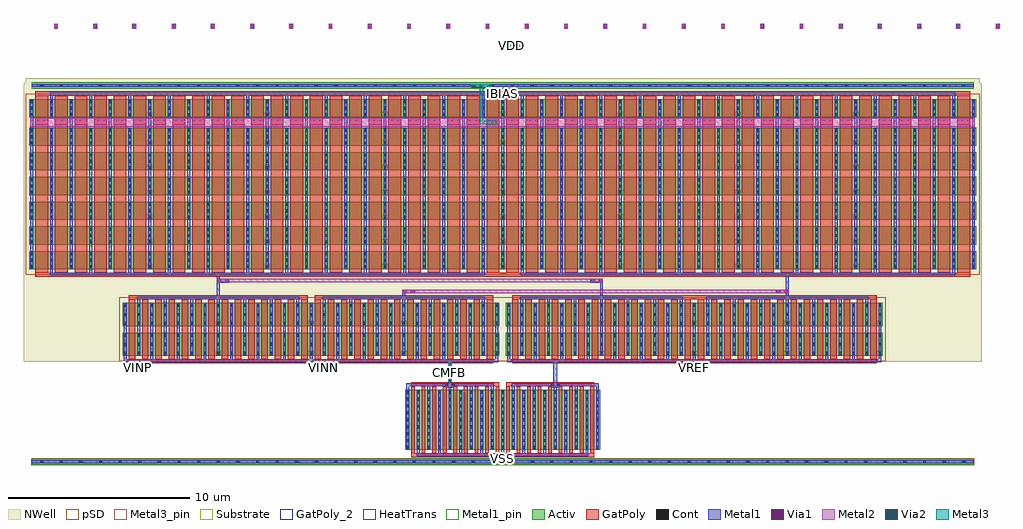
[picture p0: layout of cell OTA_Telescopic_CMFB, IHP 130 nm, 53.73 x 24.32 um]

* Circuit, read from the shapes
.subckt OTA_Telescopic_CMFB CMFB IBIAS VDD VINN VINP VREF VSS
XM1 VSS CMFB CMFB VSS sg13_lv_nmos w=3.33u l=0.2u m=9
XM2 n1 n1 VSS VSS sg13_lv_nmos w=3.33u l=0.2u m=9
XM3 n2 IBIAS n3 n4 sg13_lv_pmos w=1u l=0.7u m=6
XM4 IBIAS IBIAS n3 n4 sg13_lv_pmos w=1u l=0.7u
XM5 n5 IBIAS n2 n4 sg13_lv_pmos w=1u l=0.7u m=12
XM6 n5 IBIAS IBIAS n4 sg13_lv_pmos w=1u l=0.7u m=2
XM7 n6 IBIAS n2 n4 sg13_lv_pmos w=1u l=0.7u m=12
XM8 n6 IBIAS IBIAS n4 sg13_lv_pmos w=1u l=0.7u m=2
XM9 n2 VINP CMFB n4 sg13_lv_pmos w=1.285u l=0.35u m=28
XM10 n7 IBIAS n2 n4 sg13_lv_pmos w=1u l=0.7u m=12
XM11 n7 IBIAS IBIAS n4 sg13_lv_pmos w=1u l=0.7u m=2
XM12 n8 IBIAS n2 n4 sg13_lv_pmos w=1u l=0.7u m=12
XM13 n8 IBIAS IBIAS n4 sg13_lv_pmos w=1u l=0.7u m=2
XM14 n9 IBIAS n2 n4 sg13_lv_pmos w=1u l=0.7u m=12
XM15 n9 IBIAS IBIAS n4 sg13_lv_pmos w=1u l=0.7u m=2
XM16 n10 IBIAS n2 n4 sg13_lv_pmos w=1u l=0.7u m=12
XM17 n10 IBIAS IBIAS n4 sg13_lv_pmos w=1u l=0.7u m=2
XM18 n11 IBIAS n2 n4 sg13_lv_pmos w=1u l=0.7u m=12
XM19 n11 IBIAS IBIAS n4 sg13_lv_pmos w=1u l=0.7u m=2
XM20 n12 VINN CMFB n4 sg13_lv_pmos w=1.285u l=0.35u m=28
XM21 n13 IBIAS n2 n4 sg13_lv_pmos w=1u l=0.7u m=12
XM22 n13 IBIAS IBIAS n4 sg13_lv_pmos w=1u l=0.7u m=2
XM23 n14 IBIAS n2 n4 sg13_lv_pmos w=1u l=0.7u m=12
XM24 n14 IBIAS IBIAS n4 sg13_lv_pmos w=1u l=0.7u m=2
XM25 n15 IBIAS n2 n4 sg13_lv_pmos w=1u l=0.7u m=12
XM26 n15 IBIAS IBIAS n4 sg13_lv_pmos w=1u l=0.7u m=2
XM27 n16 IBIAS n2 n4 sg13_lv_pmos w=1u l=0.7u m=12
XM28 n16 IBIAS IBIAS n4 sg13_lv_pmos w=1u l=0.7u m=2
XM29 n17 IBIAS n2 n4 sg13_lv_pmos w=1u l=0.7u m=6
XM30 n17 IBIAS IBIAS n4 sg13_lv_pmos w=1u l=0.7u m=2
XM31 n12 IBIAS n17 n4 sg13_lv_pmos w=1u l=0.7u m=6
XM32 n2 VREF n1 n4 sg13_lv_pmos w=1.285u l=0.35u m=28
XM33 n18 IBIAS n12 n4 sg13_lv_pmos w=1u l=0.7u m=12
XM34 n18 IBIAS IBIAS n4 sg13_lv_pmos w=1u l=0.7u m=2
XM35 n19 IBIAS n12 n4 sg13_lv_pmos w=1u l=0.7u m=12
XM36 n19 IBIAS IBIAS n4 sg13_lv_pmos w=1u l=0.7u m=2
XM37 n20 IBIAS n12 n4 sg13_lv_pmos w=1u l=0.7u m=12
XM38 n20 IBIAS IBIAS n4 sg13_lv_pmos w=1u l=0.7u m=2
XM39 n21 IBIAS n12 n4 sg13_lv_pmos w=1u l=0.7u m=12
XM40 n21 IBIAS IBIAS n4 sg13_lv_pmos w=1u l=0.7u m=2
XM41 n22 IBIAS n12 n4 sg13_lv_pmos w=1u l=0.7u m=12
XM42 n22 IBIAS IBIAS n4 sg13_lv_pmos w=1u l=0.7u m=2
XM43 n12 VREF n1 n4 sg13_lv_pmos w=1.285u l=0.35u m=28
XM44 n23 IBIAS n12 n4 sg13_lv_pmos w=1u l=0.7u m=12
XM45 n23 IBIAS IBIAS n4 sg13_lv_pmos w=1u l=0.7u m=2
XM46 n24 IBIAS n12 n4 sg13_lv_pmos w=1u l=0.7u m=12
XM47 n24 IBIAS IBIAS n4 sg13_lv_pmos w=1u l=0.7u m=2
XM48 n25 IBIAS n12 n4 sg13_lv_pmos w=1u l=0.7u m=12
XM49 n25 IBIAS IBIAS n4 sg13_lv_pmos w=1u l=0.7u m=2
XM50 n26 IBIAS n12 n4 sg13_lv_pmos w=1u l=0.7u m=12
XM51 n26 IBIAS IBIAS n4 sg13_lv_pmos w=1u l=0.7u m=2
XM52 n27 IBIAS n12 n4 sg13_lv_pmos w=1u l=0.7u m=12
XM53 n27 IBIAS IBIAS n4 sg13_lv_pmos w=1u l=0.7u m=2
XM54 n28 IBIAS n12 n4 sg13_lv_pmos w=1u l=0.7u m=12
XM55 n28 IBIAS IBIAS n4 sg13_lv_pmos w=1u l=0.7u m=2
XM56 n29 IBIAS n12 n4 sg13_lv_pmos w=1u l=0.7u m=6
XM57 n29 IBIAS IBIAS n4 sg13_lv_pmos w=1u l=0.7u
.ends

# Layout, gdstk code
import gdstk
lib = gdstk.Library(unit=1e-6, precision=1e-09)
def R(c, l, rs):  # rectangles x0, y0, x1, y1
    for r in rs: c.add(gdstk.rectangle(r[:2], r[2:], *l))
def A(c, l, x, y, w, h, nx, ny, dx, dy):  # array of equal rectangles
    R(c, l, [(x+i*dx, y+j*dy, x+i*dx+w, y+j*dy+h) for i in range(nx) for j in range(ny)])
Activ = (1, 0)
GatPoly = (5, 0)
GatPoly_2 = (5, 2)
Cont = (6, 0)
Metal1 = (8, 0)
Metal1_pin = (8, 2)
Metal2 = (10, 0)
pSD = (14, 0)
Via1 = (19, 0)
Via2 = (29, 0)
Metal3 = (30, 0)
Metal3_pin = (30, 2)
NWell = (31, 0)
Substrate = (40, 0)
HeatTrans = (51, 0)

pmos_1 = lib.new_cell('pmos$1')
A(pmos_1, Activ, 0, 0, 0.3, 0.3, 8, 1, 0.73, 0)
R(pmos_1, Activ, [(0,0,5.41,1.285)])
A(pmos_1, GatPoly, 0.34, -0.18, 0.35, 1.645, 7, 1, 0.73, 0)
R(pmos_1, GatPoly, [(0.34,-0.18,0.69,1.465)])
A(pmos_1, Cont, 0.07, 0.07, 0.16, 0.16, 8, 2, 0.73, 0.49)
A(pmos_1, Cont, 0.07, 1.055, 0.16, 0.16, 8, 1, 0.73, 0)
A(pmos_1, Metal1, 0.8, 0, 0.16, 1.285, 7, 1, 0.73, 0)
R(pmos_1, Metal1, [(0.07,0,0.23,1.285), (0.07,0,0.23,1.285), (0.8,0,0.96,1.285)])
R(pmos_1, pSD, [(-0.18,-0.3,5.59,1.585)])
R(pmos_1, NWell, [(-0.31,-0.31,5.72,1.595)])
R(pmos_1, Substrate, [(5.11,0,5.41,0.3)])
A(pmos_1, HeatTrans, 0.34, -0.18, 0.35, 1.645, 7, 1, 0.73, 0)
pmos_1.add(gdstk.Label('pmos', (0.515,0.643), layer=63, texttype=0))
pmos_1.add(gdstk.Label('pmos', (0.515,0.643), layer=51, texttype=0))
pmos_1.add(gdstk.Label('pmos', (1.245,0.643), layer=51, texttype=0))
pmos_1.add(gdstk.Label('pmos', (1.975,0.643), layer=51, texttype=0))
pmos_1.add(gdstk.Label('pmos', (2.705,0.643), layer=51, texttype=0))
pmos_1.add(gdstk.Label('pmos', (3.435,0.643), layer=51, texttype=0))
pmos_1.add(gdstk.Label('pmos', (4.165,0.643), layer=51, texttype=0))
pmos_1.add(gdstk.Label('pmos', (4.895,0.643), layer=51, texttype=0))

nmos = lib.new_cell('nmos')
A(nmos, Activ, 0, 0, 0.3, 0.3, 10, 1, 0.58, 0)
R(nmos, Activ, [(0,0,5.52,3.33)])
A(nmos, GatPoly, 0.34, -0.18, 0.2, 3.69, 9, 1, 0.58, 0)
R(nmos, GatPoly_2, [(0.34,-0.18,0.54,3.51)])
A(nmos, Cont, 0.07, 0.07, 0.16, 0.16, 10, 2, 0.58, 0.375)
A(nmos, Cont, 0.07, 0.825, 0.16, 0.16, 10, 3, 0.58, 0.38)
A(nmos, Cont, 0.07, 1.96, 0.16, 0.16, 10, 4, 0.58, 0.38)
A(nmos, Metal1, 0.07, 0, 0.16, 3.33, 10, 1, 0.58, 0)
R(nmos, Metal1_pin, [(0.07,0,0.23,3.33), (0.65,0,0.81,3.33)])
A(nmos, HeatTrans, 0.34, -0.18, 0.2, 3.69, 9, 1, 0.58, 0)
nmos.add(gdstk.Label('nmos', (0.44,1.665), layer=63, texttype=0))
nmos.add(gdstk.Label('nmos', (0.44,1.665), layer=51, texttype=0))
nmos.add(gdstk.Label('nmos', (1.02,1.665), layer=51, texttype=0))
nmos.add(gdstk.Label('nmos', (1.6,1.665), layer=51, texttype=0))
nmos.add(gdstk.Label('nmos', (2.18,1.665), layer=51, texttype=0))
nmos.add(gdstk.Label('nmos', (2.76,1.665), layer=51, texttype=0))
nmos.add(gdstk.Label('nmos', (3.34,1.665), layer=51, texttype=0))
nmos.add(gdstk.Label('nmos', (3.92,1.665), layer=51, texttype=0))
nmos.add(gdstk.Label('nmos', (4.5,1.665), layer=51, texttype=0))
nmos.add(gdstk.Label('nmos', (5.08,1.665), layer=51, texttype=0))

pmos = lib.new_cell('pmos')
A(pmos, Activ, 0, 0, 0.3, 0.3, 7, 1, 1.08, 0)
R(pmos, Activ, [(0,0,6.78,1)])
A(pmos, GatPoly, 0.34, -0.18, 0.7, 1.36, 6, 1, 1.08, 0)
R(pmos, GatPoly, [(0.34,-0.18,1.04,1.18)])
A(pmos, Cont, 0.07, 0.07, 0.16, 0.16, 7, 3, 1.08, 0.35)
A(pmos, Metal1, 1.15, 0, 0.16, 1, 6, 1, 1.08, 0)
R(pmos, Metal1, [(0.07,0,0.23,1), (0.07,0,0.23,1), (1.15,0,1.31,1)])
R(pmos, pSD, [(-0.18,-0.3,6.96,1.3)])
R(pmos, NWell, [(-0.31,-0.31,7.09,1.31)])
R(pmos, Substrate, [(6.48,0,6.78,0.3)])
A(pmos, HeatTrans, 0.34, -0.18, 0.7, 1.36, 6, 1, 1.08, 0)
pmos.add(gdstk.Label('pmos', (0.69,0.5), layer=63, texttype=0))
pmos.add(gdstk.Label('pmos', (0.69,0.5), layer=51, texttype=0))
pmos.add(gdstk.Label('pmos', (1.77,0.5), layer=51, texttype=0))
pmos.add(gdstk.Label('pmos', (2.85,0.5), layer=51, texttype=0))
pmos.add(gdstk.Label('pmos', (3.93,0.5), layer=51, texttype=0))
pmos.add(gdstk.Label('pmos', (5.01,0.5), layer=51, texttype=0))
pmos.add(gdstk.Label('pmos', (6.09,0.5), layer=51, texttype=0))

m1_bar2 = lib.new_cell('M1_Bar2')
R(m1_bar2, Metal1, [(-0.078,-4.355,0.082,4.805)])

m1_routings2 = lib.new_cell('M1_Routings2')
r = gdstk.Reference(m1_bar2, (-0.007,-0.05)); r.repetition = gdstk.Repetition(25, 1, v1=(2.16,0), v2=(0,0)); m1_routings2.add(r)

m1_bar3 = lib.new_cell('M1_Bar3')
R(m1_bar3, Metal1, [(-0.05,-0.1,0.11,0.08)])

m1_routings3 = lib.new_cell('M1_Routings3')
r = gdstk.Reference(m1_bar3, (0.025,-0.245)); r.repetition = gdstk.Repetition(24, 1, v1=(2.16,0), v2=(0,0)); m1_routings3.add(r)

m1_routings6 = lib.new_cell('M1_Routings6')
r = gdstk.Reference(m1_bar3, (-0.035,0.04)); r.repetition = gdstk.Repetition(5, 1, v1=(1.16,0), v2=(0,0)); m1_routings6.add(r)

poly_bar1 = lib.new_cell('Poly_Bar1')
R(poly_bar1, GatPoly, [(-0.368,-0.085,0.332,0.125)])

poly_routings1 = lib.new_cell('Poly_Routings1')
r = gdstk.Reference(poly_bar1, (0,0)); r.repetition = gdstk.Repetition(48, 1, v1=(1.08,0), v2=(0,0)); poly_routings1.add(r)

m1_bar1 = lib.new_cell('M1_Bar1')
R(m1_bar1, Metal1, [(-0.078,-3.765,0.082,4.215)])

m1_routings1 = lib.new_cell('M1_Routings1')
r = gdstk.Reference(m1_bar1, (0,-0.155)); r.repetition = gdstk.Repetition(12, 1, v1=(2.16,0), v2=(0,0)); m1_routings1.add(r)

m1_cont1_nmos = lib.new_cell('M1_Cont1_NMOS')
R(m1_cont1_nmos, Activ, [(-0.53,-0.175,0.55,0.165)])
R(m1_cont1_nmos, Cont, [(-0.07,-0.085,0.09,0.075)])
R(m1_cont1_nmos, Metal1, [(-0.53,-0.085,0.55,0.075)])
R(m1_cont1_nmos, Metal1_pin, [(-0.53,-0.085,0.55,0.075)])
R(m1_cont1_nmos, pSD, [(-0.56,-0.205,0.58,0.195)])

m1_bulkcont1_nmos = lib.new_cell('M1_BulkCont1_NMOS')
r = gdstk.Reference(m1_cont1_nmos, (0.005,0.01)); r.repetition = gdstk.Repetition(48, 1, v1=(1.08,0), v2=(0,0)); m1_bulkcont1_nmos.add(r)

m1_cont1_pmos = lib.new_cell('M1_Cont1_PMOS')
R(m1_cont1_pmos, Activ, [(-0.535,-0.175,0.545,0.165)])
R(m1_cont1_pmos, Cont, [(-0.075,-0.085,0.085,0.075)])
R(m1_cont1_pmos, Metal1, [(-0.535,-0.085,0.545,0.075)])
R(m1_cont1_pmos, Metal1_pin, [(-0.535,-0.085,0.545,0.075)])
R(m1_cont1_pmos, NWell, [(-0.875,-0.415,0.885,0.405)])

m1_bulkcont1_pmos = lib.new_cell('M1_BulkCont1_PMOS')
r = gdstk.Reference(m1_cont1_pmos, (-0.015,-0.015)); r.repetition = gdstk.Repetition(48, 1, v1=(1.08,0), v2=(0,0)); m1_bulkcont1_pmos.add(r)

m1_bar4 = lib.new_cell('M1_Bar4')
R(m1_bar4, Metal1, [(-0.073,-1.5,0.087,1.61)])

m1_routings5 = lib.new_cell('M1_Routings5')
r = gdstk.Reference(m1_bar4, (0,0.01)); r.repetition = gdstk.Repetition(7, 1, v1=(1.46,0), v2=(0,0)); m1_routings5.add(r)

m1_routings4 = lib.new_cell('M1_Routings4')
r = gdstk.Reference(m1_bar4, (0,0.02)); r.repetition = gdstk.Repetition(8, 1, v1=(1.46,0), v2=(0,0)); m1_routings4.add(r)

via_vdd_unit = lib.new_cell('via_vdd_unit')
R(via_vdd_unit, Metal1, [(-0.105,-0.14,0.105,0.15)])
R(via_vdd_unit, Metal2, [(-0.1,-0.14,0.1,0.15)])
R(via_vdd_unit, Via1, [(-0.095,-0.09,0.095,0.1)])

via_vdd = lib.new_cell('via_vdd')
r = gdstk.Reference(via_vdd_unit, (0,0)); r.repetition = gdstk.Repetition(25, 1, v1=(2.16,0), v2=(0,0)); via_vdd.add(r)

ota_telescopic_cmfb = lib.new_cell('OTA_Telescopic_CMFB')
R(ota_telescopic_cmfb, GatPoly, [(29.15,-0.41,33.99,-0.18), (34.37,-0.41,39.21,-0.18), (30.96,3.44,31.6,3.74), (36.76,3.44,37.4,3.74), (29.15,3.51,33.99,3.74), (34.37,3.51,39.21,3.74), (13.6,4.4,14.58,4.7), (23.82,4.4,24.8,4.7), (44.24,4.4,45.22,4.7), (13.6,4.7,14.58,4.765), (23.82,4.7,24.8,4.765), (44.24,4.7,45.22,4.765), (13.6,4.765,23.44,4.995), (23.82,4.765,33.66,4.995), (34.7,4.765,54.76,4.995), (13.6,8.285,23.44,8.515), (23.82,8.285,33.66,8.515), (34.7,8.285,54.76,8.515), (8.45,9.54,59.91,9.77), (33.69,19.455,34.67,19.755), (8.45,19.5,33.86,19.755), (34.5,19.5,59.91,19.755)])
A(ota_telescopic_cmfb, Cont, 13.67, 4.47, 0.16, 0.16, 3, 1, 0.34, 0)
A(ota_telescopic_cmfb, Cont, 23.89, 4.47, 0.16, 0.16, 3, 1, 0.34, 0)
A(ota_telescopic_cmfb, Cont, 44.31, 4.47, 0.16, 0.16, 3, 1, 0.34, 0)
A(ota_telescopic_cmfb, Cont, 33.76, 19.525, 0.16, 0.16, 3, 1, 0.34, 0)
R(ota_telescopic_cmfb, Cont, [(31.03,3.51,31.19,3.67), (31.37,3.51,31.53,3.67), (36.83,3.51,36.99,3.67), (37.17,3.51,37.33,3.67)])
R(ota_telescopic_cmfb, Metal1, [(33.625,-0.57,34.735,-0.55), (33.625,-0.55,34.735,-0.34), (29.46,-0.34,38.9,-0.18), (28.88,3.51,33.68,3.67), (30.98,3.51,31.58,3.67), (34.68,3.51,39.48,3.67), (36.78,3.51,37.38,3.67), (36.975,3.669,37.185,4.835), (31.175,3.67,31.385,4.836), (31.175,3.7,31.385,4.81), (13.535,4.445,14.645,4.655), (23.755,4.445,24.865,4.655), (44.175,4.445,45.285,4.655), (13.33,4.835,33.93,4.995), (34.43,4.835,55.03,4.995), (14.06,8.285,22.98,8.445), (24.28,8.285,33.2,8.445), (35.16,8.285,44.08,8.445), (45.38,8.285,54.3,8.445), (18.44,8.445,18.6,9.27), (28.66,8.445,28.82,8.625), (39.54,8.445,39.7,9.27), (49.76,8.445,49.92,8.625), (28.66,8.625,29.36,8.835), (49.22,8.625,49.92,8.835), (49.76,8.785,49.92,9.61), (18.44,9.22,19.14,9.43), (39,9.22,39.7,9.43), (18.44,9.43,18.6,9.61), (9.26,9.61,33.18,9.77), (35.18,9.61,59.1,9.77), (9.26,19.5,59.1,19.71), (33.625,19.5,34.735,19.71), (32.45,19.935,33.56,20.145), (34.13,22.19,35.24,22.4)])
R(ota_telescopic_cmfb, Metal2, [(33.625,-0.545,34.735,-0.345), (31.18,3.7,31.38,4.81), (13.535,4.45,14.645,4.65), (23.755,4.45,24.865,4.65), (44.175,4.45,45.285,4.65), (28.66,8.63,29.36,8.83), (28.84,8.63,49.74,8.83), (49.22,8.63,49.92,8.83), (18.44,9.225,19.14,9.425), (18.62,9.225,39.52,9.425), (39,9.225,39.7,9.425), (8.18,17.785,60.18,18.285), (33.625,19.505,34.735,19.705), (32.45,19.94,33.56,20.14), (34.13,22.195,35.24,22.395)])
A(ota_telescopic_cmfb, Via1, 33.675, -0.54, 0.19, 0.19, 3, 2, 0.41, 20.05)
A(ota_telescopic_cmfb, Via1, 31.185, 3.75, 0.19, 0.19, 1, 3, 0, 0.41)
A(ota_telescopic_cmfb, Via1, 13.585, 4.455, 0.19, 0.19, 3, 1, 0.41, 0)
A(ota_telescopic_cmfb, Via1, 23.805, 4.455, 0.19, 0.19, 3, 1, 0.41, 0)
A(ota_telescopic_cmfb, Via1, 44.225, 4.455, 0.19, 0.19, 3, 1, 0.41, 0)
A(ota_telescopic_cmfb, Via1, 32.5, 19.945, 0.19, 0.19, 3, 1, 0.41, 0)
A(ota_telescopic_cmfb, Via1, 34.18, 22.2, 0.19, 0.19, 3, 1, 0.41, 0)
R(ota_telescopic_cmfb, Via1, [(28.71,8.635,28.9,8.825), (29.12,8.635,29.31,8.825), (49.27,8.635,49.46,8.825), (49.68,8.635,49.87,8.825), (18.49,9.23,18.68,9.42), (18.9,9.23,19.09,9.42), (39.05,9.23,39.24,9.42), (39.46,9.23,39.65,9.42)])
A(ota_telescopic_cmfb, Via2, 33.675, -0.54, 0.19, 0.19, 3, 2, 0.41, 20.05)
A(ota_telescopic_cmfb, Via2, 31.185, 3.75, 0.19, 0.19, 1, 3, 0, 0.41)
A(ota_telescopic_cmfb, Via2, 13.585, 4.455, 0.19, 0.19, 3, 1, 0.41, 0)
A(ota_telescopic_cmfb, Via2, 23.805, 4.455, 0.19, 0.19, 3, 1, 0.41, 0)
A(ota_telescopic_cmfb, Via2, 44.225, 4.455, 0.19, 0.19, 3, 1, 0.41, 0)
A(ota_telescopic_cmfb, Via2, 32.5, 19.945, 0.19, 0.19, 3, 1, 0.41, 0)
A(ota_telescopic_cmfb, Via2, 34.18, 22.2, 0.19, 0.19, 3, 1, 0.41, 0)
R(ota_telescopic_cmfb, Metal3, [(33.625,-0.545,34.735,-0.345), (31.18,3.7,31.38,4.81), (13.535,4.45,14.645,4.65), (23.755,4.45,24.865,4.65), (44.175,4.45,45.285,4.65), (32.905,17.935,33.83,18.135), (32.905,17.935,33.105,19.94), (33.625,19.505,34.735,19.705), (32.45,19.94,33.56,20.14), (34.13,22.195,35.24,22.395)])
R(ota_telescopic_cmfb, Metal3_pin, [(33.625,-0.545,34.735,-0.345), (31.18,3.7,31.38,4.81), (13.535,4.45,14.645,4.65), (23.755,4.45,24.865,4.65), (44.175,4.45,45.285,4.65), (33.625,19.505,34.735,19.705), (34.13,22.195,35.24,22.395)])
R(ota_telescopic_cmfb, NWell, [(7.8,4.865,12.95,9.64), (55.41,4.865,60.56,9.64), (12.95,8.415,55.41,9.64), (7.8,19.63,60.56,20.19)])
ota_telescopic_cmfb.add(gdstk.Reference(pmos_1, (28.59,5.175)))
ota_telescopic_cmfb.add(gdstk.Reference(nmos, (28.81,0)))
ota_telescopic_cmfb.add(gdstk.Reference(nmos, (34.03,0)))
ota_telescopic_cmfb.add(gdstk.Reference(pmos_1, (34.36,6.82)))
ota_telescopic_cmfb.add(gdstk.Reference(pmos_1, (28.59,6.82)))
ota_telescopic_cmfb.add(gdstk.Reference(pmos_1, (34.36,5.175)))
ota_telescopic_cmfb.add(gdstk.Reference(pmos, (34.03,9.95)))
ota_telescopic_cmfb.add(gdstk.Reference(pmos, (34.03,12.67)))
ota_telescopic_cmfb.add(gdstk.Reference(pmos, (34.03,15.39)))
ota_telescopic_cmfb.add(gdstk.Reference(pmos, (34.03,11.31)))
ota_telescopic_cmfb.add(gdstk.Reference(pmos, (34.03,14.03)))
ota_telescopic_cmfb.add(gdstk.Reference(pmos, (34.03,16.75)))
ota_telescopic_cmfb.add(gdstk.Reference(pmos, (27.55,15.39)))
ota_telescopic_cmfb.add(gdstk.Reference(pmos, (27.55,9.95)))
ota_telescopic_cmfb.add(gdstk.Reference(pmos, (27.55,12.67)))
ota_telescopic_cmfb.add(gdstk.Reference(pmos, (27.55,16.75)))
ota_telescopic_cmfb.add(gdstk.Reference(pmos, (27.55,11.31)))
ota_telescopic_cmfb.add(gdstk.Reference(pmos, (27.55,14.03)))
ota_telescopic_cmfb.add(gdstk.Reference(m1_routings2, (8.265,14.355)))
ota_telescopic_cmfb.add(gdstk.Reference(pmos, (27.55,18.32)))
ota_telescopic_cmfb.add(gdstk.Reference(pmos, (34.03,18.32)))
ota_telescopic_cmfb.add(gdstk.Reference(m1_routings3, (9.285,19.665)))
ota_telescopic_cmfb.add(gdstk.Reference(m1_routings6, (29.545,-0.12)))
ota_telescopic_cmfb.add(gdstk.Reference(m1_routings6, (34.185,-0.12)))
ota_telescopic_cmfb.add(gdstk.Reference(poly_routings1, (8.818,18.015)))
ota_telescopic_cmfb.add(gdstk.Reference(pmos, (46.99,9.95)))
ota_telescopic_cmfb.add(gdstk.Reference(pmos, (53.47,9.95)))
ota_telescopic_cmfb.add(gdstk.Reference(pmos, (40.51,9.95)))
ota_telescopic_cmfb.add(gdstk.Reference(pmos, (14.59,9.95)))
ota_telescopic_cmfb.add(gdstk.Reference(pmos, (8.11,9.95)))
ota_telescopic_cmfb.add(gdstk.Reference(pmos, (21.07,9.95)))
ota_telescopic_cmfb.add(gdstk.Reference(m1_routings1, (35.258,13.69)))
ota_telescopic_cmfb.add(gdstk.Reference(m1_routings1, (9.338,13.69)))
ota_telescopic_cmfb.add(gdstk.Reference(m1_bulkcont1_nmos, (8.785,-0.655)))
ota_telescopic_cmfb.add(gdstk.Reference(m1_bulkcont1_pmos, (8.81,20.085)))
ota_telescopic_cmfb.add(gdstk.Reference(pmos, (46.99,18.32)))
ota_telescopic_cmfb.add(gdstk.Reference(pmos, (40.51,15.39)))
ota_telescopic_cmfb.add(gdstk.Reference(pmos, (46.99,15.39)))
ota_telescopic_cmfb.add(gdstk.Reference(pmos, (53.47,15.39)))
ota_telescopic_cmfb.add(gdstk.Reference(pmos, (40.51,12.67)))
ota_telescopic_cmfb.add(gdstk.Reference(pmos, (46.99,12.67)))
ota_telescopic_cmfb.add(gdstk.Reference(pmos, (53.47,12.67)))
ota_telescopic_cmfb.add(gdstk.Reference(pmos, (46.99,16.75)))
ota_telescopic_cmfb.add(gdstk.Reference(pmos, (53.47,16.75)))
ota_telescopic_cmfb.add(gdstk.Reference(pmos, (40.51,14.03)))
ota_telescopic_cmfb.add(gdstk.Reference(pmos, (46.99,14.03)))
ota_telescopic_cmfb.add(gdstk.Reference(pmos, (53.47,14.03)))
ota_telescopic_cmfb.add(gdstk.Reference(pmos, (40.51,11.31)))
ota_telescopic_cmfb.add(gdstk.Reference(pmos, (40.51,16.75)))
ota_telescopic_cmfb.add(gdstk.Reference(pmos, (46.99,11.31)))
ota_telescopic_cmfb.add(gdstk.Reference(pmos, (40.51,18.32)))
ota_telescopic_cmfb.add(gdstk.Reference(pmos, (53.47,11.31)))
ota_telescopic_cmfb.add(gdstk.Reference(pmos, (53.47,18.32)))
ota_telescopic_cmfb.add(gdstk.Reference(pmos, (14.59,18.32)))
ota_telescopic_cmfb.add(gdstk.Reference(pmos, (21.07,12.67)))
ota_telescopic_cmfb.add(gdstk.Reference(pmos, (14.59,12.67)))
ota_telescopic_cmfb.add(gdstk.Reference(pmos, (8.11,12.67)))
ota_telescopic_cmfb.add(gdstk.Reference(pmos, (8.11,15.39)))
ota_telescopic_cmfb.add(gdstk.Reference(pmos, (21.07,16.75)))
ota_telescopic_cmfb.add(gdstk.Reference(pmos, (14.59,16.75)))
ota_telescopic_cmfb.add(gdstk.Reference(pmos, (21.07,15.39)))
ota_telescopic_cmfb.add(gdstk.Reference(pmos, (21.07,11.31)))
ota_telescopic_cmfb.add(gdstk.Reference(pmos, (8.11,16.75)))
ota_telescopic_cmfb.add(gdstk.Reference(pmos, (14.59,11.31)))
ota_telescopic_cmfb.add(gdstk.Reference(pmos, (8.11,11.31)))
ota_telescopic_cmfb.add(gdstk.Reference(pmos, (21.07,14.03)))
ota_telescopic_cmfb.add(gdstk.Reference(pmos, (14.59,14.03)))
ota_telescopic_cmfb.add(gdstk.Reference(pmos, (8.11,14.03)))
ota_telescopic_cmfb.add(gdstk.Reference(pmos, (21.07,18.32)))
ota_telescopic_cmfb.add(gdstk.Reference(pmos, (14.59,15.39)))
ota_telescopic_cmfb.add(gdstk.Reference(pmos, (8.11,18.32)))
ota_telescopic_cmfb.add(gdstk.Reference(m1_routings5, (24.353,6.665)))
ota_telescopic_cmfb.add(gdstk.Reference(m1_routings4, (13.403,6.475)))
ota_telescopic_cmfb.add(gdstk.Reference(m1_routings5, (14.133,6.665)))
ota_telescopic_cmfb.add(gdstk.Reference(pmos_1, (23.48,5.175)))
ota_telescopic_cmfb.add(gdstk.Reference(m1_routings6, (28.965,3.39)))
ota_telescopic_cmfb.add(gdstk.Reference(pmos_1, (23.48,6.82)))
ota_telescopic_cmfb.add(gdstk.Reference(pmos_1, (13.26,5.175)))
ota_telescopic_cmfb.add(gdstk.Reference(pmos_1, (18.37,5.175)))
ota_telescopic_cmfb.add(gdstk.Reference(pmos_1, (13.26,6.82)))
ota_telescopic_cmfb.add(gdstk.Reference(pmos_1, (18.37,6.82)))
ota_telescopic_cmfb.add(gdstk.Reference(m1_routings4, (23.623,6.475)))
ota_telescopic_cmfb.add(gdstk.Reference(pmos_1, (39.47,5.175)))
ota_telescopic_cmfb.add(gdstk.Reference(pmos_1, (49.69,5.175)))
ota_telescopic_cmfb.add(gdstk.Reference(pmos_1, (44.58,5.175)))
ota_telescopic_cmfb.add(gdstk.Reference(m1_routings4, (44.723,6.475)))
ota_telescopic_cmfb.add(gdstk.Reference(m1_routings5, (45.453,6.665)))
ota_telescopic_cmfb.add(gdstk.Reference(m1_routings4, (34.503,6.475)))
ota_telescopic_cmfb.add(gdstk.Reference(m1_routings5, (35.233,6.665)))
ota_telescopic_cmfb.add(gdstk.Reference(m1_routings6, (34.765,3.39)))
ota_telescopic_cmfb.add(gdstk.Reference(pmos_1, (49.69,6.82)))
ota_telescopic_cmfb.add(gdstk.Reference(pmos_1, (44.58,6.82)))
ota_telescopic_cmfb.add(gdstk.Reference(pmos_1, (39.47,6.82)))
ota_telescopic_cmfb.add(gdstk.Reference(via_vdd, (9.585,23.325)))
ota_telescopic_cmfb.add(gdstk.Label('VDD', (34.689,22.294), layer=30, texttype=25))
ota_telescopic_cmfb.add(gdstk.Label('IBIAS', (34.174,19.609), layer=30, texttype=25))
ota_telescopic_cmfb.add(gdstk.Label('VREF', (44.733,4.543), layer=30, texttype=25))
ota_telescopic_cmfb.add(gdstk.Label('VINN', (24.305,4.54), layer=30, texttype=25))
ota_telescopic_cmfb.add(gdstk.Label('VINP', (14.089,4.549), layer=30, texttype=25))
ota_telescopic_cmfb.add(gdstk.Label('VSS', (34.175,-0.455), layer=30, texttype=25))
ota_telescopic_cmfb.add(gdstk.Label('CMFB', (31.278,4.243), layer=30, texttype=25))

lib.write_gds('OTA_Telescopic_CMFB.gds')
